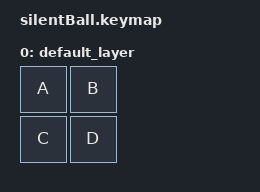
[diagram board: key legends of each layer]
#include <behaviors.dtsi>

/ {
    keymap {
        compatible = "zmk,keymap";

        default_layer {
            bindings = <
                    &kp A   &kp B
                    &kp C   &kp D
                >;
        };
    };
};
